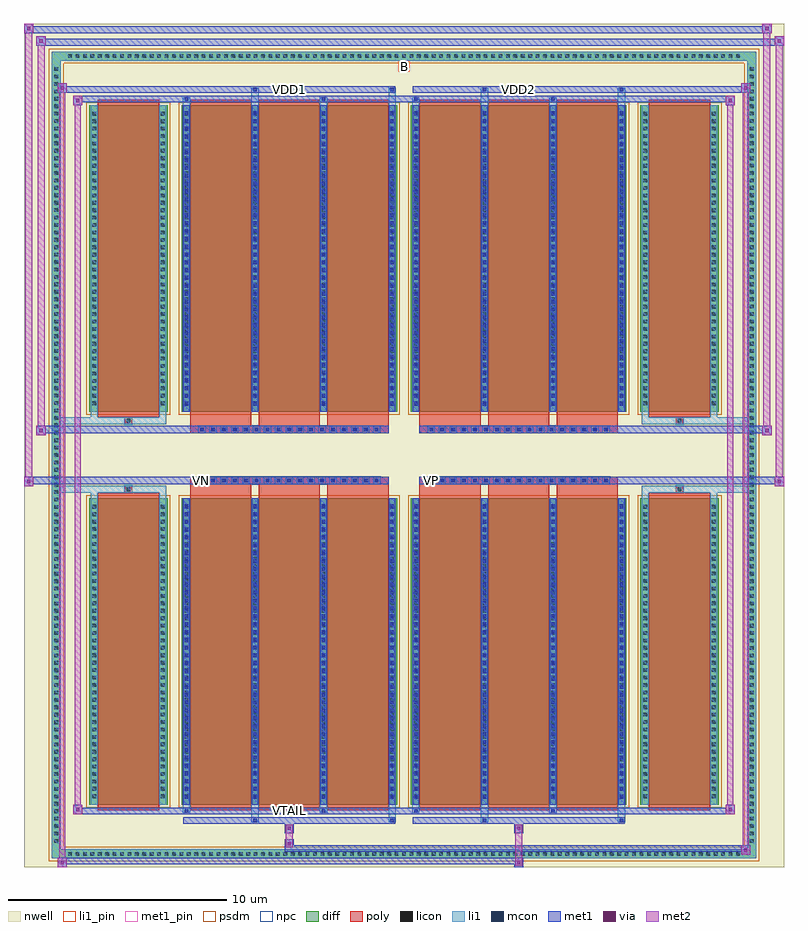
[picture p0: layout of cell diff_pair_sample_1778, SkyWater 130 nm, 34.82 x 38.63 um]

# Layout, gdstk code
import gdstk
lib = gdstk.Library(unit=1e-6, precision=5e-09)
def R(c, l, rs):  # rectangles x0, y0, x1, y1
    for r in rs: c.add(gdstk.rectangle(r[:2], r[2:], *l))
def A(c, l, x, y, w, h, nx, ny, dx, dy):  # array of equal rectangles
    R(c, l, [(x+i*dx, y+j*dy, x+i*dx+w, y+j*dy+h) for i in range(nx) for j in range(ny)])
def P(c, l, *ps):  # polygons
    for p in ps: c.add(gdstk.Polygon(p, *l))
nwell = (64, 20)
diff = (65, 20)
poly = (66, 20)
licon = (66, 44)
li1_pin = (67, 16)
li1 = (67, 20)
mcon = (67, 44)
met1_pin = (68, 16)
met1 = (68, 20)
via = (68, 44)
met2 = (69, 20)
psdm = (94, 20)
npc = (95, 20)

diff_pair_sample_1778 = lib.new_cell('diff_pair_sample_1778')
R(diff_pair_sample_1778, nwell, [(-17.41,-18.88,17.41,19.75), (-14.73,-17.07,-0.01,-0.805), (0.01,-17.07,14.73,-0.805), (-14.73,0.805,-0.01,17.07), (0.01,0.805,14.73,17.07)])
A(diff_pair_sample_1778, diff, -15.505, -18.48, 0.41, 0.41, 91, 2, 0.34, 36.55)
A(diff_pair_sample_1778, diff, -16.14, -17.885, 0.41, 0.41, 1, 105, 0, 0.34)
A(diff_pair_sample_1778, diff, 15.73, -17.885, 0.41, 0.41, 1, 105, 0, 0.34)
R(diff_pair_sample_1778, diff, [(-15.505,-18.48,15.505,-18.07), (-16.14,-17.885,-15.73,17.885), (15.73,-17.885,16.14,17.885), (-14.42,-16.025,-10.83,-1.985), (-10.19,-16.025,-0.32,-1.985), (0.32,-16.025,10.19,-1.985), (10.83,-16.025,14.42,-1.985), (-14.42,1.985,-10.83,16.025), (-10.19,1.985,-0.32,16.025), (0.32,1.985,10.19,16.025), (10.83,1.985,14.42,16.025), (-15.505,18.07,15.505,18.48)])
P(diff_pair_sample_1778, diff, [(16.14,18.48),(-16.14,18.48),(-16.14,-18.07),(-15.73,-18.07),(-15.73,18.07),(15.73,18.07),(15.73,-18.07),(-15.73,-18.07),(-16.14,-18.07),(-16.14,-18.48),(16.14,-18.48)])
A(diff_pair_sample_1778, poly, -9.8, -16.275, 2.81, 14.54, 3, 2, 3.14, 18.01)
A(diff_pair_sample_1778, poly, 0.71, -16.275, 2.81, 14.54, 3, 2, 3.14, 18.01)
A(diff_pair_sample_1778, poly, -9.8, -1.735, 2.81, 0.4, 3, 2, 3.14, 3.07)
A(diff_pair_sample_1778, poly, 0.71, -1.735, 2.81, 0.4, 3, 2, 3.14, 3.07)
A(diff_pair_sample_1778, poly, -9.42, -1.335, 0.33, 0.33, 17, 2, 0.5, 2.34)
A(diff_pair_sample_1778, poly, 1.09, -1.335, 0.33, 0.33, 17, 2, 0.5, 2.34)
R(diff_pair_sample_1778, poly, [(-14.03,-16.275,-11.22,-1.735), (11.22,-16.275,14.03,-1.735), (-12.79,-1.735,-12.46,-1.405), (-12.79,-1.735,-12.46,-1.405), (12.46,-1.735,12.79,-1.405), (12.46,-1.735,12.79,-1.405), (-9.8,-1.335,-0.71,-1.005), (0.71,-1.335,9.8,-1.005), (-9.8,1.005,-0.71,1.335), (0.71,1.005,9.8,1.335), (-12.79,1.405,-12.46,1.735), (-12.79,1.405,-12.46,1.735), (12.46,1.405,12.79,1.735), (12.46,1.405,12.79,1.735), (-14.03,1.735,-11.22,16.275), (11.22,1.735,14.03,16.275)])
A(diff_pair_sample_1778, licon, -15.385, -18.36, 0.17, 0.17, 91, 2, 0.34, 36.55)
A(diff_pair_sample_1778, licon, -16.02, -17.765, 0.17, 0.17, 1, 105, 0, 0.34)
A(diff_pair_sample_1778, licon, 15.85, -17.765, 0.17, 0.17, 1, 105, 0, 0.34)
A(diff_pair_sample_1778, licon, -14.28, -15.72, 0.17, 0.17, 1, 40, 0, 0.34)
A(diff_pair_sample_1778, licon, -11.14, -15.72, 0.17, 0.17, 1, 40, 0, 0.34)
A(diff_pair_sample_1778, licon, -10.05, -15.72, 0.17, 0.17, 4, 40, 3.14, 0.34)
A(diff_pair_sample_1778, licon, 0.46, -15.72, 0.17, 0.17, 4, 40, 3.14, 0.34)
A(diff_pair_sample_1778, licon, 10.97, -15.72, 0.17, 0.17, 1, 40, 0, 0.34)
A(diff_pair_sample_1778, licon, 14.11, -15.72, 0.17, 0.17, 1, 40, 0, 0.34)
A(diff_pair_sample_1778, licon, -9.34, -1.255, 0.17, 0.17, 17, 2, 0.5, 2.34)
A(diff_pair_sample_1778, licon, 1.17, -1.255, 0.17, 0.17, 17, 2, 0.5, 2.34)
A(diff_pair_sample_1778, licon, -14.28, 2.29, 0.17, 0.17, 1, 40, 0, 0.34)
A(diff_pair_sample_1778, licon, -11.14, 2.29, 0.17, 0.17, 1, 40, 0, 0.34)
A(diff_pair_sample_1778, licon, -10.05, 2.29, 0.17, 0.17, 4, 40, 3.14, 0.34)
A(diff_pair_sample_1778, licon, 0.46, 2.29, 0.17, 0.17, 4, 40, 3.14, 0.34)
A(diff_pair_sample_1778, licon, 10.97, 2.29, 0.17, 0.17, 1, 40, 0, 0.34)
A(diff_pair_sample_1778, licon, 14.11, 2.29, 0.17, 0.17, 1, 40, 0, 0.34)
R(diff_pair_sample_1778, licon, [(-12.71,-1.655,-12.54,-1.485), (12.54,-1.655,12.71,-1.485), (-12.71,1.485,-12.54,1.655), (12.54,1.485,12.71,1.655)])
R(diff_pair_sample_1778, li1_pin, [(-0.25,17.57,0.25,18.07)])
A(diff_pair_sample_1778, li1, -15.465, -18.44, 0.33, 0.33, 91, 2, 0.34, 36.55)
A(diff_pair_sample_1778, li1, -16.1, -17.845, 0.33, 0.33, 1, 105, 0, 0.34)
A(diff_pair_sample_1778, li1, 15.77, -17.845, 0.33, 0.33, 1, 105, 0, 0.34)
A(diff_pair_sample_1778, li1, -10.13, -16.025, 0.33, 14.04, 4, 2, 3.14, 18.01)
A(diff_pair_sample_1778, li1, 0.38, -16.025, 0.33, 14.04, 4, 2, 3.14, 18.01)
A(diff_pair_sample_1778, li1, -14.36, -15.8, 0.33, 0.33, 1, 40, 0, 0.34)
A(diff_pair_sample_1778, li1, -11.22, -15.8, 0.33, 0.33, 1, 40, 0, 0.34)
A(diff_pair_sample_1778, li1, -10.13, -15.8, 0.33, 0.33, 4, 40, 3.14, 0.34)
A(diff_pair_sample_1778, li1, 0.38, -15.8, 0.33, 0.33, 4, 40, 3.14, 0.34)
A(diff_pair_sample_1778, li1, 10.89, -15.8, 0.33, 0.33, 1, 40, 0, 0.34)
A(diff_pair_sample_1778, li1, 14.03, -15.8, 0.33, 0.33, 1, 40, 0, 0.34)
A(diff_pair_sample_1778, li1, -10.05, -15.75, 0.17, 0.17, 4, 38, 3.14, 0.36)
A(diff_pair_sample_1778, li1, -10.05, -15.75, 0.17, 13.49, 4, 2, 3.14, 18.01)
A(diff_pair_sample_1778, li1, 0.46, -15.75, 0.17, 0.17, 4, 38, 3.14, 0.36)
A(diff_pair_sample_1778, li1, 0.46, -15.75, 0.17, 13.49, 4, 2, 3.14, 18.01)
A(diff_pair_sample_1778, li1, -9.42, -1.335, 0.33, 0.33, 17, 2, 0.5, 2.34)
A(diff_pair_sample_1778, li1, 1.09, -1.335, 0.33, 0.33, 17, 2, 0.5, 2.34)
A(diff_pair_sample_1778, li1, -14.36, 2.21, 0.33, 0.33, 1, 40, 0, 0.34)
A(diff_pair_sample_1778, li1, -11.22, 2.21, 0.33, 0.33, 1, 40, 0, 0.34)
A(diff_pair_sample_1778, li1, -10.13, 2.21, 0.33, 0.33, 4, 40, 3.14, 0.34)
A(diff_pair_sample_1778, li1, 0.38, 2.21, 0.33, 0.33, 4, 40, 3.14, 0.34)
A(diff_pair_sample_1778, li1, 10.89, 2.21, 0.33, 0.33, 1, 40, 0, 0.34)
A(diff_pair_sample_1778, li1, 14.03, 2.21, 0.33, 0.33, 1, 40, 0, 0.34)
A(diff_pair_sample_1778, li1, -10.05, 2.26, 0.17, 0.17, 4, 38, 3.14, 0.36)
A(diff_pair_sample_1778, li1, 0.46, 2.26, 0.17, 0.17, 4, 38, 3.14, 0.36)
R(diff_pair_sample_1778, li1, [(-16.14,-18.48,-15.73,-18.07), (-16.14,-18.48,-15.73,-18.07), (-15.73,-18.48,15.73,-18.07), (15.73,-18.48,16.14,-18.07), (15.73,-18.48,16.14,-18.07), (-16.14,-18.07,-15.73,18.07), (15.73,-18.07,16.14,18.07), (-6.99,-16.83,-6.66,-16.025), (-6.91,-16.83,-6.74,-16.66), (-0.71,-16.83,-0.38,-16.025), (-0.63,-16.83,-0.46,-16.66), (3.52,-16.83,3.85,-16.025), (3.6,-16.83,3.77,-16.66), (9.8,-16.83,10.13,-16.025), (9.88,-16.83,10.05,-16.66), (-10.13,-16.4,-9.8,-16.025), (-10.05,-16.4,-9.88,-16.23), (-3.85,-16.4,-3.52,-16.025), (-3.77,-16.4,-3.6,-16.23), (0.38,-16.4,0.71,-16.025), (0.46,-16.4,0.63,-16.23), (6.66,-16.4,6.99,-16.025), (6.74,-16.4,6.91,-16.23), (-14.36,-16.025,-14.03,-1.985), (-11.22,-16.025,-10.89,-1.985), (10.89,-16.025,11.22,-1.985), (14.03,-16.025,14.36,-1.985), (-14.36,-1.985,-14.03,-1.405), (-11.22,-1.985,-10.89,-1.405), (10.89,-1.985,11.22,-1.405), (14.03,-1.985,14.36,-1.405), (-16.14,-1.735,-12.79,-1.405), (-14.36,-1.735,-12.79,-1.405), (-12.79,-1.735,-12.46,-1.405), (-12.46,-1.735,-10.89,-1.405), (10.89,-1.735,12.46,-1.405), (12.46,-1.735,12.79,-1.405), (12.46,-1.735,16.14,-1.405), (12.79,-1.735,14.36,-1.405), (-16.14,1.405,-12.79,1.735), (-14.36,1.405,-12.79,1.735), (-14.36,1.405,-14.03,1.985), (-12.79,1.405,-12.46,1.735), (-12.46,1.405,-10.89,1.735), (-11.22,1.405,-10.89,1.985), (10.89,1.405,12.46,1.735), (10.89,1.405,11.22,1.985), (12.46,1.405,12.79,1.735), (12.46,1.405,16.14,1.735), (12.79,1.405,14.36,1.735), (14.03,1.405,14.36,1.985), (-14.36,1.985,-14.03,16.025), (-11.22,1.985,-10.89,16.025), (10.89,1.985,11.22,16.025), (14.03,1.985,14.36,16.025), (-10.13,16.025,-9.8,16.4), (-6.99,16.025,-6.66,16.83), (-3.85,16.025,-3.52,16.4), (-0.71,16.025,-0.38,16.83), (0.38,16.025,0.71,16.4), (3.52,16.025,3.85,16.83), (6.66,16.025,6.99,16.4), (9.8,16.025,10.13,16.83), (-10.05,16.23,-9.88,16.4), (-3.77,16.23,-3.6,16.4), (0.46,16.23,0.63,16.4), (6.74,16.23,6.91,16.4), (-6.91,16.66,-6.74,16.83), (-0.63,16.66,-0.46,16.83), (3.6,16.66,3.77,16.83), (9.88,16.66,10.05,16.83), (-16.14,18.07,-15.73,18.48), (-16.14,18.07,-15.73,18.48), (-15.73,18.07,15.73,18.48), (15.73,18.07,16.14,18.48), (15.73,18.07,16.14,18.48)])
A(diff_pair_sample_1778, mcon, -10.05, -15.75, 0.17, 0.17, 4, 38, 3.14, 0.36)
A(diff_pair_sample_1778, mcon, 0.46, -15.75, 0.17, 0.17, 4, 38, 3.14, 0.36)
A(diff_pair_sample_1778, mcon, -9.34, -1.255, 0.17, 0.17, 17, 2, 0.5, 2.34)
A(diff_pair_sample_1778, mcon, 1.17, -1.255, 0.17, 0.17, 17, 2, 0.5, 2.34)
A(diff_pair_sample_1778, mcon, -10.05, 2.26, 0.17, 0.17, 4, 38, 3.14, 0.36)
A(diff_pair_sample_1778, mcon, 0.46, 2.26, 0.17, 0.17, 4, 38, 3.14, 0.36)
R(diff_pair_sample_1778, mcon, [(-6.91,-16.83,-6.74,-16.66), (-0.63,-16.83,-0.46,-16.66), (3.6,-16.83,3.77,-16.66), (9.88,-16.83,10.05,-16.66), (-10.05,-16.4,-9.88,-16.23), (-3.77,-16.4,-3.6,-16.23), (0.46,-16.4,0.63,-16.23), (6.74,-16.4,6.91,-16.23), (-10.05,16.23,-9.88,16.4), (-3.77,16.23,-3.6,16.4), (0.46,16.23,0.63,16.4), (6.74,16.23,6.91,16.4), (-6.91,16.66,-6.74,16.83), (-0.63,16.66,-0.46,16.83), (3.6,16.66,3.77,16.83), (9.88,16.66,10.05,16.83)])
R(diff_pair_sample_1778, met1_pin, [(-5.39,-16.44,-5.12,-16.17), (-9.39,-1.295,-9.12,-1.025), (1.12,-1.295,1.39,-1.025), (-5.39,16.62,-5.12,16.89), (5.12,16.62,5.39,16.89)])
A(diff_pair_sample_1778, met1, -10.11, -16.025, 0.29, 14.04, 4, 2, 3.14, 18.01)
A(diff_pair_sample_1778, met1, 0.4, -16.025, 0.29, 14.04, 4, 2, 3.14, 18.01)
A(diff_pair_sample_1778, met1, -10.11, -15.81, 0.29, 0.29, 4, 38, 3.14, 0.36)
A(diff_pair_sample_1778, met1, 0.4, -15.81, 0.29, 0.29, 4, 38, 3.14, 0.36)
A(diff_pair_sample_1778, met1, -9.4, -1.315, 0.29, 0.29, 17, 2, 0.5, 2.34)
A(diff_pair_sample_1778, met1, 1.11, -1.315, 0.29, 0.29, 17, 2, 0.5, 2.34)
A(diff_pair_sample_1778, met1, -10.11, 2.2, 0.29, 0.29, 4, 38, 3.14, 0.36)
A(diff_pair_sample_1778, met1, 0.4, 2.2, 0.29, 0.29, 4, 38, 3.14, 0.36)
R(diff_pair_sample_1778, met1, [(-15.87,-18.88,-15.44,-18.45), (5.04,-18.88,5.47,-18.45), (-15.87,-18.74,5.47,-18.45), (15.44,-18.31,15.87,-17.88), (-5.47,-18.17,15.87,-17.88), (-5.47,-18.03,-5.04,-17.6), (-5.47,-17.32,-5.04,-16.89), (5.04,-17.32,5.47,-16.89), (-10.11,-16.89,-0.4,-16.6), (-6.97,-16.89,-6.68,-16.6), (-0.69,-16.89,-0.4,-16.6), (0.4,-16.89,10.11,-16.6), (3.54,-16.89,3.83,-16.6), (9.82,-16.89,10.11,-16.6), (-15.16,-16.46,-14.73,-16.03), (-15.16,-16.46,-10.11,-16.17), (-10.11,-16.46,-9.82,-16.17), (-10.11,-16.46,-0.4,-16.17), (-3.83,-16.46,-3.54,-16.17), (-0.4,-16.46,0.4,-16.17), (0.4,-16.46,0.69,-16.17), (0.4,-16.46,10.11,-16.17), (6.68,-16.46,6.97,-16.17), (10.11,-16.46,15.16,-16.17), (14.73,-16.46,15.16,-16.03), (-17.41,-1.435,-16.98,-1.005), (16.98,-1.435,17.41,-1.005), (-17.41,-1.335,-0.71,-1.005), (-9.8,-1.335,-0.71,-1.005), (0.71,-1.335,9.8,-1.005), (0.71,-1.335,17.41,-1.005), (-16.84,0.905,-16.41,1.335), (16.41,0.905,16.84,1.335), (-16.84,1.005,-9.8,1.335), (-9.8,1.005,-0.71,1.335), (0.71,1.005,9.8,1.335), (9.8,1.005,16.84,1.335), (-15.16,16.03,-14.73,16.46), (14.73,16.03,15.16,16.46), (-15.16,16.17,-10.11,16.46), (-10.11,16.17,-9.82,16.46), (-10.11,16.17,-0.4,16.46), (-3.83,16.17,-3.54,16.46), (-0.4,16.17,0.4,16.46), (0.4,16.17,0.69,16.46), (0.4,16.17,10.11,16.46), (6.68,16.17,6.97,16.46), (10.11,16.17,15.16,16.46), (-15.87,16.6,-15.44,17.03), (-15.87,16.6,-10.11,16.89), (-10.11,16.6,-0.4,16.89), (-6.97,16.6,-6.68,16.89), (-0.69,16.6,-0.4,16.89), (0.4,16.6,10.11,16.89), (3.54,16.6,3.83,16.89), (9.82,16.6,10.11,16.89), (10.11,16.6,15.87,16.89), (15.44,16.6,15.87,17.03), (-16.84,18.75,-16.41,19.18), (-16.84,18.75,-14.73,19.08), (-14.73,18.75,14.73,19.08), (14.73,18.75,17.41,19.08), (16.98,18.75,17.41,19.18), (-17.41,19.32,-16.98,19.75), (-17.41,19.32,-14.73,19.65), (-14.73,19.32,14.73,19.65), (14.73,19.32,16.84,19.65), (16.41,19.32,16.84,19.75)])
R(diff_pair_sample_1778, via, [(-15.73,-18.74,-15.58,-18.59), (5.18,-18.74,5.33,-18.59), (15.58,-18.17,15.73,-18.02), (-5.33,-17.89,-5.18,-17.74), (-5.33,-17.18,-5.18,-17.03), (5.18,-17.18,5.33,-17.03), (-15.02,-16.32,-14.87,-16.17), (14.87,-16.32,15.02,-16.17), (-17.27,-1.295,-17.12,-1.145), (17.12,-1.295,17.27,-1.145), (-16.7,1.045,-16.55,1.195), (16.55,1.045,16.7,1.195), (-15.02,16.17,-14.87,16.32), (14.87,16.17,15.02,16.32), (-15.73,16.74,-15.58,16.89), (15.58,16.74,15.73,16.89), (-16.7,18.89,-16.55,19.04), (17.12,18.89,17.27,19.04), (-17.27,19.46,-17.12,19.61), (16.55,19.46,16.7,19.61)])
R(diff_pair_sample_1778, met2, [(-15.87,-18.88,-15.44,-18.45), (-15.8,-18.88,-15.51,17.03), (-15.51,-18.88,-15.44,-18.45), (-15.82,-18.83,-15.49,-18.5), (5.09,-18.83,5.42,-18.5), (5.09,-18.5,5.42,-17.27), (15.44,-18.31,15.87,-17.88), (15.51,-18.31,15.8,17.03), (15.8,-18.31,15.87,-17.88), (15.49,-18.26,15.82,-17.93), (-5.42,-17.98,-5.09,-17.65), (-5.42,-17.65,-5.09,-17.27), (-5.42,-17.27,-5.09,-16.94), (5.09,-17.27,5.42,-16.94), (-15.16,-16.46,-14.73,-16.03), (-15.09,-16.46,-14.8,16.46), (-14.8,-16.46,-14.73,-16.03), (14.73,-16.46,15.16,-16.03), (14.8,-16.46,15.09,16.46), (15.09,-16.46,15.16,-16.03), (-15.11,-16.41,-14.78,-16.08), (14.78,-16.41,15.11,-16.08), (-17.41,-1.435,-16.98,-1.005), (-17.36,-1.435,-17.03,19.75), (-17.03,-1.435,-16.98,-1.005), (16.98,-1.435,17.41,-1.005), (17.03,-1.435,17.36,19.18), (17.36,-1.435,17.41,-1.005), (-17.36,-1.385,-17.03,-1.055), (17.03,-1.385,17.36,-1.055), (-16.84,0.905,-16.41,1.335), (-16.79,0.905,-16.46,19.18), (-16.46,0.905,-16.41,1.335), (16.41,0.905,16.84,1.335), (16.46,0.905,16.79,19.75), (16.79,0.905,16.84,1.335), (-16.79,0.955,-16.46,1.285), (16.46,0.955,16.79,1.285), (-15.16,16.03,-14.73,16.46), (-14.8,16.03,-14.73,16.46), (14.73,16.03,15.16,16.46), (15.09,16.03,15.16,16.46), (-15.11,16.08,-14.78,16.41), (14.78,16.08,15.11,16.41), (-15.87,16.6,-15.44,17.03), (-15.51,16.6,-15.44,17.03), (15.44,16.6,15.87,17.03), (15.8,16.6,15.87,17.03), (-15.82,16.65,-15.49,16.98), (15.49,16.65,15.82,16.98), (-16.84,18.75,-16.41,19.18), (-16.46,18.75,-16.41,19.18), (16.98,18.75,17.41,19.18), (17.36,18.75,17.41,19.18), (-16.79,18.8,-16.46,19.13), (17.03,18.8,17.36,19.13), (-17.41,19.32,-16.98,19.75), (-17.03,19.32,-16.98,19.75), (16.41,19.32,16.84,19.75), (16.79,19.32,16.84,19.75), (-17.36,19.37,-17.03,19.7), (16.46,19.37,16.79,19.7)])
R(diff_pair_sample_1778, psdm, [(-14.55,-16.155,-10.7,-1.855), (-10.32,-16.155,-0.19,-1.855), (0.19,-16.155,10.32,-1.855), (10.7,-16.155,14.55,-1.855), (-14.55,1.855,-10.7,16.155), (-10.32,1.855,-0.19,16.155), (0.19,1.855,10.32,16.155), (10.7,1.855,14.55,16.155)])
P(diff_pair_sample_1778, psdm, [(16.27,18.61),(-16.27,18.61),(-16.27,-17.94),(-15.6,-17.94),(-15.6,17.94),(15.6,17.94),(15.6,-17.94),(-15.6,-17.94),(-16.27,-17.94),(-16.27,-18.61),(16.27,-18.61)])
A(diff_pair_sample_1778, npc, -9.44, -1.355, 0.37, 0.37, 17, 2, 0.5, 2.34)
A(diff_pair_sample_1778, npc, 1.07, -1.355, 0.37, 0.37, 17, 2, 0.5, 2.34)
R(diff_pair_sample_1778, npc, [(-12.81,-1.755,-12.44,-1.385), (12.44,-1.755,12.81,-1.385), (-9.44,-1.355,-8.57,-0.985), (-9.44,-1.355,-8.57,-0.985), (-8.94,-1.355,-8.07,-0.985), (-8.94,-1.355,-8.07,-0.985), (-8.44,-1.355,-7.57,-0.985), (-8.44,-1.355,-7.57,-0.985), (-7.94,-1.355,-7.07,-0.985), (-7.94,-1.355,-7.07,-0.985), (-7.44,-1.355,-6.57,-0.985), (-7.44,-1.355,-6.57,-0.985), (-6.94,-1.355,-6.07,-0.985), (-6.94,-1.355,-6.07,-0.985), (-6.44,-1.355,-5.57,-0.985), (-6.44,-1.355,-5.57,-0.985), (-5.94,-1.355,-5.07,-0.985), (-5.94,-1.355,-5.07,-0.985), (-5.44,-1.355,-4.57,-0.985), (-5.44,-1.355,-4.57,-0.985), (-4.94,-1.355,-4.07,-0.985), (-4.94,-1.355,-4.07,-0.985), (-4.44,-1.355,-3.57,-0.985), (-4.44,-1.355,-3.57,-0.985), (-3.94,-1.355,-3.07,-0.985), (-3.94,-1.355,-3.07,-0.985), (-3.44,-1.355,-2.57,-0.985), (-3.44,-1.355,-2.57,-0.985), (-2.94,-1.355,-2.07,-0.985), (-2.94,-1.355,-2.07,-0.985), (-2.44,-1.355,-1.57,-0.985), (-2.44,-1.355,-1.57,-0.985), (-1.94,-1.355,-1.07,-0.985), (-1.94,-1.355,-1.07,-0.985), (1.07,-1.355,1.94,-0.985), (1.07,-1.355,1.94,-0.985), (1.57,-1.355,2.44,-0.985), (1.57,-1.355,2.44,-0.985), (2.07,-1.355,2.94,-0.985), (2.07,-1.355,2.94,-0.985), (2.57,-1.355,3.44,-0.985), (2.57,-1.355,3.44,-0.985), (3.07,-1.355,3.94,-0.985), (3.07,-1.355,3.94,-0.985), (3.57,-1.355,4.44,-0.985), (3.57,-1.355,4.44,-0.985), (4.07,-1.355,4.94,-0.985), (4.07,-1.355,4.94,-0.985), (4.57,-1.355,5.44,-0.985), (4.57,-1.355,5.44,-0.985), (5.07,-1.355,5.94,-0.985), (5.07,-1.355,5.94,-0.985), (5.57,-1.355,6.44,-0.985), (5.57,-1.355,6.44,-0.985), (6.07,-1.355,6.94,-0.985), (6.07,-1.355,6.94,-0.985), (6.57,-1.355,7.44,-0.985), (6.57,-1.355,7.44,-0.985), (7.07,-1.355,7.94,-0.985), (7.07,-1.355,7.94,-0.985), (7.57,-1.355,8.44,-0.985), (7.57,-1.355,8.44,-0.985), (8.07,-1.355,8.94,-0.985), (8.07,-1.355,8.94,-0.985), (8.57,-1.355,9.44,-0.985), (8.57,-1.355,9.44,-0.985), (-9.44,0.985,-8.57,1.355), (-9.44,0.985,-8.57,1.355), (-8.94,0.985,-8.07,1.355), (-8.94,0.985,-8.07,1.355), (-8.44,0.985,-7.57,1.355), (-8.44,0.985,-7.57,1.355), (-7.94,0.985,-7.07,1.355), (-7.94,0.985,-7.07,1.355), (-7.44,0.985,-6.57,1.355), (-7.44,0.985,-6.57,1.355), (-6.94,0.985,-6.07,1.355), (-6.94,0.985,-6.07,1.355), (-6.44,0.985,-5.57,1.355), (-6.44,0.985,-5.57,1.355), (-5.94,0.985,-5.07,1.355), (-5.94,0.985,-5.07,1.355), (-5.44,0.985,-4.57,1.355), (-5.44,0.985,-4.57,1.355), (-4.94,0.985,-4.07,1.355), (-4.94,0.985,-4.07,1.355), (-4.44,0.985,-3.57,1.355), (-4.44,0.985,-3.57,1.355), (-3.94,0.985,-3.07,1.355), (-3.94,0.985,-3.07,1.355), (-3.44,0.985,-2.57,1.355), (-3.44,0.985,-2.57,1.355), (-2.94,0.985,-2.07,1.355), (-2.94,0.985,-2.07,1.355), (-2.44,0.985,-1.57,1.355), (-2.44,0.985,-1.57,1.355), (-1.94,0.985,-1.07,1.355), (-1.94,0.985,-1.07,1.355), (1.07,0.985,1.94,1.355), (1.07,0.985,1.94,1.355), (1.57,0.985,2.44,1.355), (1.57,0.985,2.44,1.355), (2.07,0.985,2.94,1.355), (2.07,0.985,2.94,1.355), (2.57,0.985,3.44,1.355), (2.57,0.985,3.44,1.355), (3.07,0.985,3.94,1.355), (3.07,0.985,3.94,1.355), (3.57,0.985,4.44,1.355), (3.57,0.985,4.44,1.355), (4.07,0.985,4.94,1.355), (4.07,0.985,4.94,1.355), (4.57,0.985,5.44,1.355), (4.57,0.985,5.44,1.355), (5.07,0.985,5.94,1.355), (5.07,0.985,5.94,1.355), (5.57,0.985,6.44,1.355), (5.57,0.985,6.44,1.355), (6.07,0.985,6.94,1.355), (6.07,0.985,6.94,1.355), (6.57,0.985,7.44,1.355), (6.57,0.985,7.44,1.355), (7.07,0.985,7.94,1.355), (7.07,0.985,7.94,1.355), (7.57,0.985,8.44,1.355), (7.57,0.985,8.44,1.355), (8.07,0.985,8.94,1.355), (8.07,0.985,8.94,1.355), (8.57,0.985,9.44,1.355), (8.57,0.985,9.44,1.355), (-12.81,1.385,-12.44,1.755), (12.44,1.385,12.81,1.755)])
diff_pair_sample_1778.add(gdstk.Label('VTAIL', (-5.255,-16.305), layer=68, texttype=5))
diff_pair_sample_1778.add(gdstk.Label('VN', (-9.255,-1.16), layer=68, texttype=5))
diff_pair_sample_1778.add(gdstk.Label('VP', (1.255,-1.16), layer=68, texttype=5))
diff_pair_sample_1778.add(gdstk.Label('B', (0,17.82), layer=67, texttype=5))
diff_pair_sample_1778.add(gdstk.Label('VDD2', (5.255,16.755), layer=68, texttype=5))
diff_pair_sample_1778.add(gdstk.Label('VDD1', (-5.255,16.755), layer=68, texttype=5))

lib.write_gds('diff_pair_sample_1778.gds')
